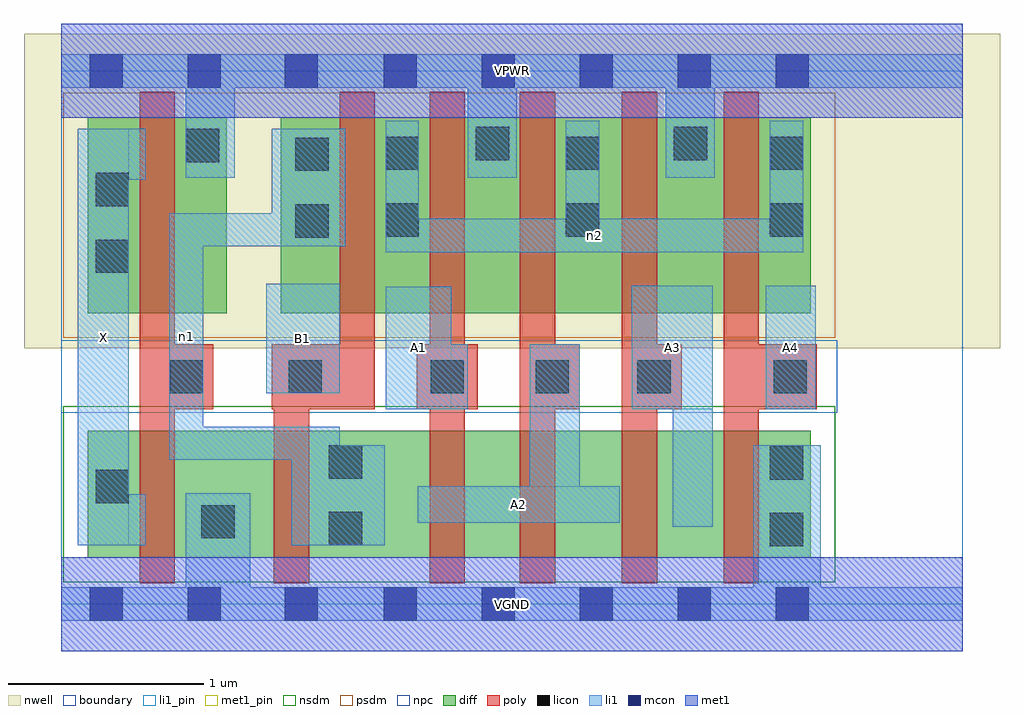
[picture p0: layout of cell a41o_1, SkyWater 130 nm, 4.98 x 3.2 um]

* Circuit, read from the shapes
.subckt a41o_1 A1 A2 A3 A4 B1 VGND VPWR X n1 n2
XM1 VGND n1 X VSUBS sky130_fd_pr__nfet_01v8 w=0.65 l=0.18
XM2 n1 B1 VGND VSUBS sky130_fd_pr__nfet_01v8 w=0.65 l=0.18
XM3 n3 A1 n1 VSUBS sky130_fd_pr__nfet_01v8 w=0.65 l=0.18
XM4 n4 A2 n3 VSUBS sky130_fd_pr__nfet_01v8 w=0.65 l=0.18
XM5 n5 A3 n4 VSUBS sky130_fd_pr__nfet_01v8 w=0.65 l=0.18
XM6 VGND A4 n5 VSUBS sky130_fd_pr__nfet_01v8 w=0.65 l=0.18
XM7 VPWR n1 X n6 sky130_fd_pr__pfet_01v8 w=1 l=0.18
XM8 n2 B1 n1 n6 sky130_fd_pr__pfet_01v8 w=1 l=0.18
XM9 VPWR A1 n2 n6 sky130_fd_pr__pfet_01v8 w=1 l=0.18
XM10 n2 A2 VPWR n6 sky130_fd_pr__pfet_01v8 w=1 l=0.18
XM11 VPWR A3 n2 n6 sky130_fd_pr__pfet_01v8 w=1 l=0.18
XM12 n2 A4 VPWR n6 sky130_fd_pr__pfet_01v8 w=1 l=0.18
.ends

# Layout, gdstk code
import gdstk
lib = gdstk.Library(unit=1e-6, precision=1e-09)
def R(c, l, rs):  # rectangles x0, y0, x1, y1
    for r in rs: c.add(gdstk.rectangle(r[:2], r[2:], *l))
def A(c, l, x, y, w, h, nx, ny, dx, dy):  # array of equal rectangles
    R(c, l, [(x+i*dx, y+j*dy, x+i*dx+w, y+j*dy+h) for i in range(nx) for j in range(ny)])
nwell = (64, 20)
diff = (65, 20)
poly = (66, 20)
licon = (66, 44)
li1_pin = (67, 16)
li1 = (67, 20)
mcon = (67, 44)
met1_pin = (68, 16)
met1 = (68, 20)
nsdm = (93, 44)
psdm = (94, 20)
npc = (95, 20)
boundary = (235, 4)

a41o_1 = lib.new_cell('a41o_1')
R(a41o_1, nwell, [(-0.19,1.305,4.79,2.91), (0,1.305,4.6,2.91)])
R(a41o_1, diff, [(0.135,0.235,3.825,0.885), (0.135,1.485,0.845,2.485), (1.12,1.485,3.825,2.485)])
A(a41o_1, poly, 2.34, 0.105, 0.18, 2.51, 3, 1, 0.52, 0)
R(a41o_1, poly, [(0.4,0.105,0.58,2.615), (1.085,0.105,1.265,1.325), (1.88,0.105,2.06,2.615), (0.4,0.995,0.775,1.325), (1.075,0.995,1.6,1.325), (1.42,0.995,1.6,2.615), (1.815,0.995,2.125,1.325), (2.34,0.995,2.645,1.325), (2.86,0.995,3.165,1.325), (3.38,0.995,3.855,1.325)])
R(a41o_1, licon, [(3.615,0.295,3.785,0.465), (1.365,0.3,1.535,0.47), (0.715,0.335,0.885,0.505), (0.175,0.515,0.345,0.685), (3.615,0.635,3.785,0.805), (1.365,0.64,1.535,0.81), (0.555,1.075,0.725,1.245), (1.16,1.075,1.33,1.245), (1.885,1.075,2.055,1.245), (2.42,1.075,2.59,1.245), (2.94,1.075,3.11,1.245), (3.635,1.075,3.805,1.245), (0.175,1.69,0.345,1.86), (1.195,1.87,1.365,2.04), (1.655,1.875,1.825,2.045), (2.575,1.875,2.745,2.045), (3.615,1.875,3.785,2.045), (0.175,2.03,0.345,2.2), (1.195,2.21,1.365,2.38), (1.655,2.215,1.825,2.385), (2.575,2.215,2.745,2.385), (3.615,2.215,3.785,2.385), (0.635,2.255,0.805,2.425), (2.115,2.265,2.285,2.435), (3.125,2.265,3.295,2.435)])
R(a41o_1, li1_pin, [(0.085,0.3,0.345,2.425), (1.82,0.415,2.85,0.6), (1.655,0.995,1.99,1.62), (2.91,0.995,3.325,1.625), (3.595,0.995,3.85,1.625), (1.045,1.075,1.42,1.635)])
R(a41o_1, li1, [(0,-0.085,4.6,0.085), (0.635,-0.085,0.965,0.565), (3.53,-0.085,3.875,0.81), (0.085,0.3,0.345,2.425), (0.085,0.3,0.43,0.56), (1.175,0.3,1.65,0.81), (3.12,0.395,3.325,1.625), (1.82,0.415,2.85,0.6), (2.39,0.415,2.645,1.325), (0.55,0.735,0.725,1.995), (0.55,0.735,1.42,0.905), (1.655,0.995,1.99,1.62), (1.655,0.995,2.075,1.325), (2.91,0.995,3.325,1.625), (3.595,0.995,3.85,1.625), (1.045,1.075,1.42,1.635), (1.655,1.795,3.785,1.965), (1.655,1.795,1.825,2.465), (2.575,1.795,2.745,2.465), (3.615,1.795,3.785,2.465), (0.55,1.825,1.45,1.995), (1.075,1.825,1.45,2.425), (0.085,2.165,0.43,2.425), (0.635,2.175,0.885,2.805), (2.075,2.175,2.325,2.805), (3.085,2.175,3.335,2.805), (0,2.635,4.6,2.805)])
A(a41o_1, mcon, 1.645, -0.085, 0.17, 0.17, 5, 2, 0.5, 2.72)
R(a41o_1, mcon, [(0.145,-0.085,0.315,0.085), (0.645,-0.085,0.815,0.085), (1.14,-0.085,1.31,0.085), (0.145,2.635,0.315,2.805), (0.645,2.635,0.815,2.805), (1.14,2.635,1.31,2.805)])
R(a41o_1, met1_pin, [(0,-0.24,4.6,0.24), (0,2.48,4.6,2.96)])
R(a41o_1, met1, [(0,-0.24,4.6,0.24), (0,2.48,4.6,2.96)])
R(a41o_1, nsdm, [(0.01,0.11,3.95,1.01)])
R(a41o_1, psdm, [(0.01,1.36,3.95,2.61)])
R(a41o_1, npc, [(0,0.975,3.96,1.345)])
R(a41o_1, boundary, [(0,0,4.6,2.72)])
a41o_1.add(gdstk.Label('A1', (1.822,1.307), layer=67, texttype=5))
a41o_1.add(gdstk.Label('A2', (2.335,0.507), layer=67, texttype=5))
a41o_1.add(gdstk.Label('A3', (3.117,1.31), layer=67, texttype=5))
a41o_1.add(gdstk.Label('A4', (3.722,1.31), layer=67, texttype=5))
a41o_1.add(gdstk.Label('B1', (1.232,1.355), layer=67, texttype=5))
a41o_1.add(gdstk.Label('X', (0.215,1.362), layer=67, texttype=5))
a41o_1.add(gdstk.Label('n1', (0.637,1.365), layer=67, texttype=5))
a41o_1.add(gdstk.Label('n2', (2.72,1.88), layer=67, texttype=5))
a41o_1.add(gdstk.Label('VPWR', (2.3,2.72), layer=68, texttype=5))
a41o_1.add(gdstk.Label('VGND', (2.3,0), layer=68, texttype=5))
a41o_1.add(gdstk.Label('A1', (1.822,1.307), layer=67, texttype=16))
a41o_1.add(gdstk.Label('A2', (2.335,0.507), layer=67, texttype=16))
a41o_1.add(gdstk.Label('A3', (3.117,1.31), layer=67, texttype=16))
a41o_1.add(gdstk.Label('A4', (3.722,1.31), layer=67, texttype=16))
a41o_1.add(gdstk.Label('B1', (1.232,1.355), layer=67, texttype=16))
a41o_1.add(gdstk.Label('X', (0.215,1.362), layer=67, texttype=16))
a41o_1.add(gdstk.Label('VPWR', (2.3,2.72), layer=68, texttype=16))
a41o_1.add(gdstk.Label('VGND', (2.3,0), layer=68, texttype=16))

lib.write_gds('a41o_1.gds')
